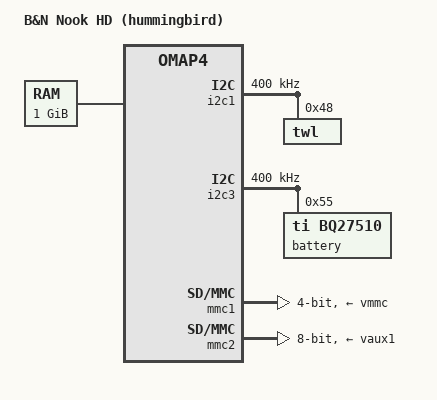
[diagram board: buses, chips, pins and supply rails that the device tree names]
/*
 * Copyright (C) 2016 D. Andrei Măceș <dmaces@nd.edu>
 *
 * This program is free software; you can redistribute it and/or modify
 * it under the terms of the GNU General Public License version 2 as
 * published by the Free Software Foundation.
 */
/dts-v1/;

#include "omap4460.dtsi"
#include "elpida_ecb240abacn.dtsi"

/ {
	model = "B&N Nook HD (hummingbird)";
	compatible = "bn,omap4-bn-hd", "ti,omap4460", "ti,omap4430", "ti,omap4";

	memory {
		device_type = "memory";
		reg = <0x80000000 0x40000000>; // 1 GB
	};

	chosen {
		bootargs = "androidboot.selinux=permissive";
	};
};

&omap4_pmx_core {
/*	pinctrl-names = "default";
	pinctrl-0 = <
			&dss_hdmi_pins
			&tpd12s015_pins
	>;	*/

	uart1_pins: pinmux_uart1_pins {
		pinctrl-single,pins = <
			OMAP4_IOPAD(0x126, PIN_INPUT_PULLUP | MUX_MODE1)	// i2c2_scl.uart1_rx
			OMAP4_IOPAD(0x128, PIN_OUTPUT | MUX_MODE1)			// i2c2_sda.uart1_tx
		>;
	};

	uart3_pins: pinmux_uart3_pins {
		pinctrl-single,pins = <
			OMAP4_IOPAD(0x140, PIN_INPUT_PULLUP | MUX_MODE0)	// uart3_cts_rctx.uart3_cts_rctx
			OMAP4_IOPAD(0x142, PIN_OUTPUT | MUX_MODE0)			// uart3_rts_sd.uart3_rts_sd
			OMAP4_IOPAD(0x144, PIN_INPUT | MUX_MODE0)			// uart3_rx_irrx.uart3_rx_irrx
			OMAP4_IOPAD(0x146, PIN_OUTPUT | MUX_MODE0)			// uart3_tx_irtx.uart3_tx_irtx
		>;
	};

	uart4_pins: pinmux_uart4_pins {
		pinctrl-single,pins = <
			OMAP4_IOPAD(0x110, PIN_INPUT_PULLUP | MUX_MODE5)	// abe_dmic_clk1.uart4_cts
			OMAP4_IOPAD(0x112, PIN_OUTPUT | MUX_MODE5)			// abe_dmic_din1.uart4_rts
			OMAP4_IOPAD(0x15c, PIN_INPUT_PULLUP | MUX_MODE0)	// uart4_rx.uart4_rx
			OMAP4_IOPAD(0x15e, PIN_OUTPUT | MUX_MODE0)			// uart4_tx.uart4_tx
		>;
	};

	twl6040_pins: pinmux_twl6040_pins {
		pinctrl-single,pins = <
			OMAP4_IOPAD(0x0fa, PIN_OUTPUT | MUX_MODE3)			// abe_mcbsp2_dx.gpio_112
			OMAP4_IOPAD(0x1a0, PIN_INPUT_PULLUP | MUX_MODE0)	// sys_nirq2.sys_nirq2
		>;
	};

	dss_hdmi_pins: pinmux_dss_hdmi_pins {
		pinctrl-single,pins = <
			OMAP4_IOPAD(0x09a, PIN_INPUT_PULLUP | MUX_MODE0)	// hdmi_cec.hdmi_cec
			OMAP4_IOPAD(0x09c, PIN_INPUT | MUX_MODE0)			// hdmi_ddc_scl.hdmi_ddc_scl
			OMAP4_IOPAD(0x09e, PIN_INPUT | MUX_MODE0)			// hdmi_ddc_sda.hdmi_ddc_sda
		>;
	};

	hdmi_hpd_pins: pinmux_hdmi_hpd_pins {
		pinctrl-single,pins = <
			OMAP4_IOPAD(0x098, PIN_INPUT_PULLDOWN | MUX_MODE3)	// hdmi_hpd.gpio_63
		>;
	};

	i2c1_pins: pinmux_i2c1_pins {
		pinctrl-single,pins = <
			OMAP4_IOPAD(0x122, PIN_INPUT_PULLUP | MUX_MODE0)	// i2c1_scl.i2c1_scl
			OMAP4_IOPAD(0x124, PIN_INPUT_PULLUP | MUX_MODE0)	// i2c1_sda.i2c1_sda
		>;
	};

	i2c3_pins: pinmux_i2c3_pins {
		pinctrl-single,pins = <
			OMAP4_IOPAD(0x12a, PIN_INPUT_PULLUP | MUX_MODE0)	// i2c3_scl.i2c3_scl
			OMAP4_IOPAD(0x12c, PIN_INPUT_PULLUP | MUX_MODE0)	// i2c3_sda.i2c3_sda
		>;
	};

	bq24190_pins: pinmux_bq24190_pins {
		pinctrl-single,pins = <
			OMAP4_IOPAD(0x142, PIN_INPUT | MUX_MODE3)	// uart3_rts_sd.gpio_142
			OMAP4_IOPAD(0x0c4, PIN_OUTPUT | MUX_MODE3)	// usbb1_ulpitll_stp.gpio_85
			OMAP4_IOPAD(0x162, PIN_OUTPUT | MUX_MODE3)	// usbb2_ulpitll_stp.gpio_152
		>;
	};
};

&i2c1 {
	pinctrl-names = "default";
	pinctrl-0 = <&i2c1_pins>;

	clock-frequency = <400000>;

	twl: twl@48 {
		reg = <0x48>;
		// SPI = 0, IRQ# = 7, 4 = active high level-sensitive
		interrupts = <GIC_SPI 7 IRQ_TYPE_LEVEL_HIGH>;    // IRQ_SYS_1N cascaded to gic
	};

	twl6040: twl@4b {
		compatible = "ti,twl6040";
		reg = <0x4b>;

		#gpio-cells = <1>;	// provides GPO lines

		pinctrl-names = "default";
		pinctrl-0 = <&twl6040_pins>;

		// SPI = 0, IRQ# = 119, 4 = active high level-sensitive
		interrupts = <GIC_SPI 119 IRQ_TYPE_LEVEL_HIGH>;  // IRQ_SYS_2N cascaded to gic
		ti,audpwron-gpio = <&gpio4 16 GPIO_ACTIVE_HIGH>; // gpio line 112

		vio-supply = <&v1v8>;
		v2v1-supply = <&v2v1>;
		enable-active-high;

		status = "disabled";
	};
};

#include "twl6030.dtsi"
#include "twl6030_omap4.dtsi"

&i2c2 {
	status = "disabled";
};

&i2c3 {
	pinctrl-names = "default";
	pinctrl-0 = <&i2c3_pins>;

	clock-frequency = <400000>;

	battery: bq27510@55 {
		compatible = "ti,bq27510";
		reg = <0x55>;
		//status = "disabled";
	};

	charger: bq24190@6b {
		compatible = "ti,bq24190";
		reg = <0x6b>;
		pinctrl-names = "default";
		pinctrl-0 = <&bq24190_pins>;
		interrupt-parent = <&gpio5>;
		interrupts = <14 IRQ_TYPE_EDGE_FALLING>; // gpio 142
		status = "disabled";
	};
};

&i2c4 {
	status = "disabled";
};

&gpio1 {
	ti,no-reset-on-init;
};

&gpio2 {
	ti,no-reset-on-init;
};

&gpio3 {
	ti,no-reset-on-init;
};

&gpio5 {
	ti,no-reset-on-init;
};

&mmc1 {
	vmmc-supply = <&vmmc>;
	bus-width = <4>;
};

&mmc2 {
	vmmc-supply = <&vaux1>;
	bus-width = <8>;
	ti,non-removable;
};

&mmc3 {
	status = "disabled";
	//bus-width = <4>;
	//ti,non-removable;
	//cap-power-off-card;
};

&mmc4 {
	status = "disabled";
};

&mmc5 {
	status = "disabled";
};

&emif1 {
	//cs1-used;
	device-handle = <&elpida_ECB240ABACN>;
};

&emif2 {
	//cs1-used;
	device-handle = <&elpida_ECB240ABACN>;
};

&uart1 {
	pinctrl-names = "default";
	pinctrl-0 = <&uart1_pins>;
	ti,no-reset-on-init;
	ti,no_idle_on_suspend;
	ti,no-idle-on-init;
};

&uart4 {
	pinctrl-names = "default";
	pinctrl-0 = <&uart4_pins>;
	ti,no_idle_on_suspend;
};

&twl_usb_comparator {
	usb-supply = <&vusb>;
};

&usb_otg_hs {
	interface-type = <1>;
	mode = <3>;
	power = <50>;
};
